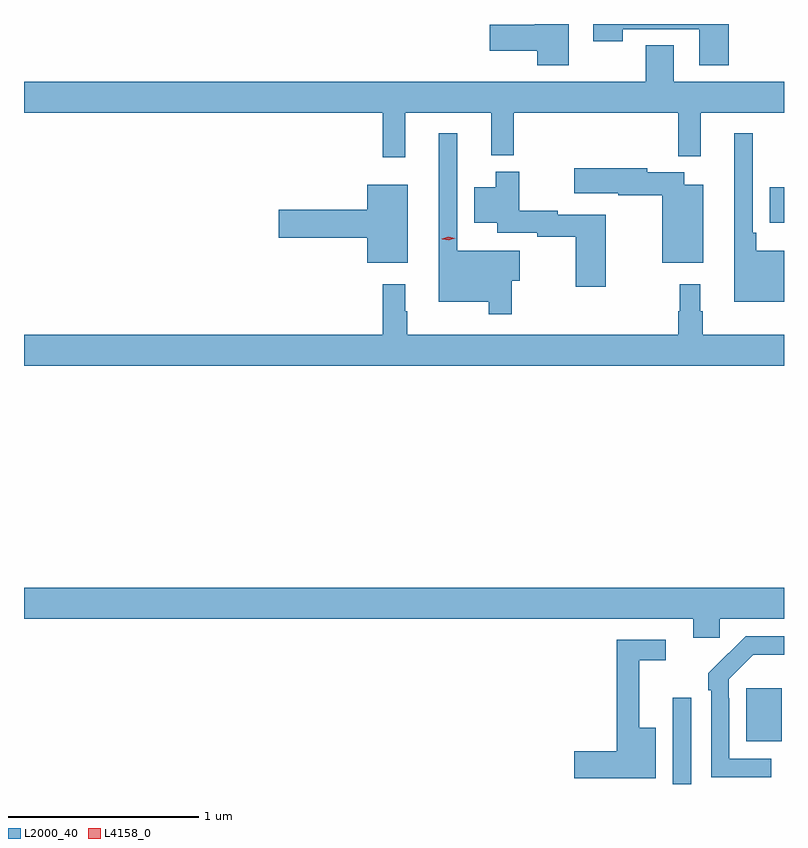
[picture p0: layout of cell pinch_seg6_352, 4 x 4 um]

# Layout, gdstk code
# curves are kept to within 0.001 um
import gdstk
lib = gdstk.Library(unit=1e-6, precision=1e-09)
def R(c, l, rs):  # rectangles x0, y0, x1, y1
    for r in rs: c.add(gdstk.rectangle(r[:2], r[2:], *l))
def P(c, l, *ps):  # polygons
    for p in ps: c.add(gdstk.Polygon(p, *l))
L2000_40 = (2000, 40)
L4158_0 = (4158, 0)

pinch_seg6_352 = lib.new_cell('pinch_seg6_352')
R(pinch_seg6_352, L2000_40, [(655.587,951.795,655.683,952.249), (655.973,952.019,656.161,952.3), (656.096,954.749,656.172,954.937)])
P(pinch_seg6_352, L2000_40, [(655.88,955.795),(655.167,955.795),(655.167,955.704),(655.323,955.704),(655.323,955.767),(655.727,955.767),(655.727,955.578),(655.88,955.578)],
  [(655.039,955.795),(654.86,955.795),(654.86,955.79),(654.624,955.79),(654.624,955.655),(654.872,955.655),(654.872,955.578),(655.039,955.578)],
  [(652.172,955.328),(654.061,955.328),(654.061,955.095),(654.179,955.095),(654.179,955.328),(654.632,955.328),(654.632,955.103),(654.749,955.103),(654.749,955.328),(655.615,955.328),(655.615,955.1),(655.733,955.1),(655.733,955.328),(656.172,955.328),(656.172,955.492),(655.591,955.492),(655.591,955.682),(655.444,955.682),(655.444,955.492),(652.172,955.492)],
  [(656.172,954.601),(656.027,954.601),(656.027,954.697),(656.007,954.697),(656.007,955.219),(655.91,955.219),(655.91,954.332),(656.172,954.332)],
  [(654.739,954.443),(654.781,954.443),(654.781,954.601),(654.453,954.601),(654.453,955.219),(654.356,955.219),(654.356,954.332),(654.618,954.332),(654.618,954.267),(654.739,954.267)],
  [(655.747,954.949),(655.648,954.949),(655.648,955.015),(655.452,955.015),(655.452,955.035),(655.068,955.035),(655.068,954.905),(655.3,954.905),(655.3,954.893),(655.532,954.893),(655.532,954.539),(655.747,954.539)],
  [(655.234,954.792),(654.98,954.792),(654.98,954.812),(654.778,954.812),(654.778,955.018),(654.656,955.018),(654.656,954.937),(654.542,954.937),(654.542,954.749),(654.662,954.749),(654.662,954.696),(654.874,954.696),(654.874,954.676),(655.076,954.676),(655.076,954.411),(655.234,954.411)],
  [(654.193,954.949),(653.978,954.949),(653.978,954.818),(653.514,954.818),(653.514,954.671),(653.978,954.671),(653.978,954.539),(654.193,954.539)],
  [(656.172,954.16),(655.744,954.16),(655.744,954.284),(655.732,954.284),(655.732,954.424),(655.623,954.424),(655.623,954.284),(655.615,954.284),(655.615,954.16),(654.19,954.16),(654.19,954.284),(654.178,954.284),(654.178,954.424),(654.061,954.424),(654.061,954.16),(652.172,954.16),(652.172,953.996),(656.172,953.996)],
  [(655.833,952.664),(656.172,952.664),(656.172,952.828),(652.172,952.828),(652.172,952.664),(655.694,952.664),(655.694,952.566),(655.833,952.566)],
  [(656.104,951.927),(655.884,951.927),(655.884,952.247),(655.881,952.247),(655.881,952.347),(656.01,952.476),(656.172,952.476),(656.172,952.572),(655.97,952.572),(655.773,952.377),(655.773,952.289),(655.788,952.289),(655.788,951.831),(656.104,951.831)],
  [(655.498,952.09),(655.409,952.09),(655.409,952.446),(655.549,952.446),(655.549,952.554),(655.291,952.554),(655.291,951.968),(655.068,951.968),(655.068,951.826),(655.498,951.826)])
P(pinch_seg6_352, L4158_0, [(654.408,954.656),(654.372,954.663),(654.371,954.664),(654.372,954.664),(654.406,954.676),(654.442,954.668),(654.443,954.668),(654.442,954.667)])

lib.write_gds('pinch_seg6_352.gds')
